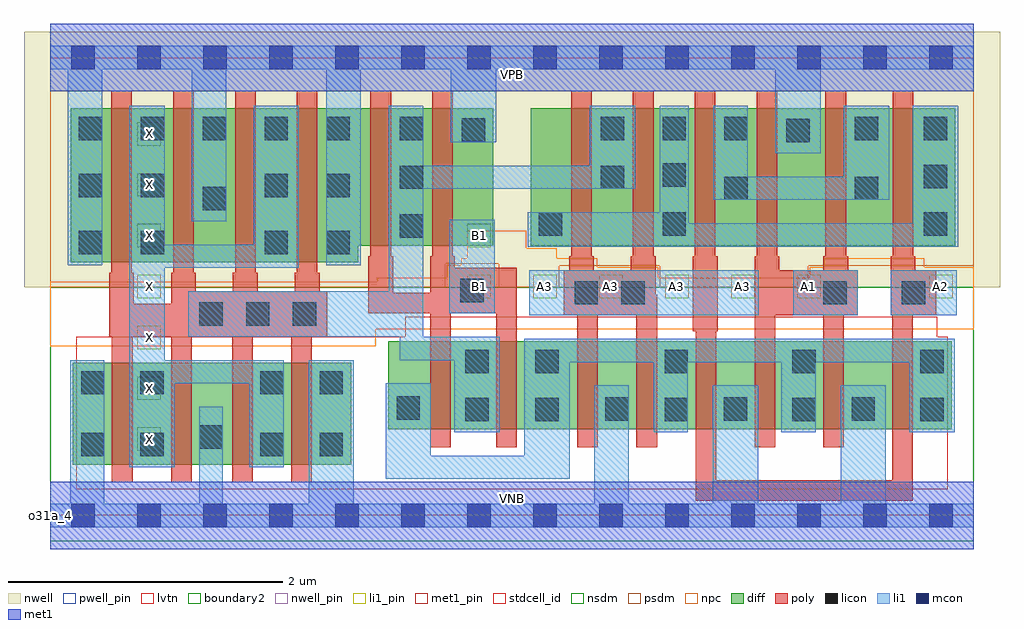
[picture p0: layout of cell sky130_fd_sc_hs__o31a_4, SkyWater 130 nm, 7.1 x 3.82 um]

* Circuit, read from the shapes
.subckt sky130_fd_sc_hs__o31a_4 A1 A2 A3 B1 VGND VNB VPB VPWR X
XM1 X n1 VGND VNB sky130_fd_pr__nfet_01v8_lvt w=0.74 l=0.15 m=4
XM2 n1 B1 n2 VNB sky130_fd_pr__nfet_01v8_lvt w=0.64 l=0.15 m=2
XM3 VGND A3 n2 VNB sky130_fd_pr__nfet_01v8_lvt w=0.64 l=0.15 m=2
XM4 VGND A2 n2 VNB sky130_fd_pr__nfet_01v8_lvt w=0.64 l=0.15 m=2
XM5 n2 A1 VGND VNB sky130_fd_pr__nfet_01v8_lvt w=0.64 l=0.15 m=2
XM6 X n1 VPWR VPB sky130_fd_pr__pfet_01v8 w=1.12 l=0.15 m=4
XM7 n1 B1 VPWR VPB sky130_fd_pr__pfet_01v8 w=1 l=0.15 m=2
XM8 n1 A3 n3 VPB sky130_fd_pr__pfet_01v8 w=1 l=0.15 m=2
XM9 n4 A2 n3 VPB sky130_fd_pr__pfet_01v8 w=1 l=0.15 m=2
XM10 VPWR A1 n4 VPB sky130_fd_pr__pfet_01v8 w=1 l=0.15 m=2
.ends

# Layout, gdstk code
import gdstk
lib = gdstk.Library(unit=1e-6, precision=1e-09)
def R(c, l, rs):  # rectangles x0, y0, x1, y1
    for r in rs: c.add(gdstk.rectangle(r[:2], r[2:], *l))
def A(c, l, x, y, w, h, nx, ny, dx, dy):  # array of equal rectangles
    R(c, l, [(x+i*dx, y+j*dy, x+i*dx+w, y+j*dy+h) for i in range(nx) for j in range(ny)])
def P(c, l, *ps):  # polygons
    for p in ps: c.add(gdstk.Polygon(p, *l))
nwell_pin = (64, 16)
nwell = (64, 20)
diff = (65, 20)
poly = (66, 20)
licon = (66, 44)
li1_pin = (67, 16)
li1 = (67, 20)
mcon = (67, 44)
met1_pin = (68, 16)
met1 = (68, 20)
stdcell_id = (81, 4)
nsdm = (93, 44)
psdm = (94, 20)
npc = (95, 20)
pwell_pin = (122, 16)
lvtn = (125, 44)
boundary2 = (236, 0)

sky130_fd_sc_hs__o31a_4 = lib.new_cell('sky130_fd_sc_hs__o31a_4')
R(sky130_fd_sc_hs__o31a_4, nwell_pin, [(0,3.085,6.72,3.33)])
R(sky130_fd_sc_hs__o31a_4, nwell, [(-0.19,1.66,6.91,3.52)])
R(sky130_fd_sc_hs__o31a_4, diff, [(0.165,0.37,2.19,1.11), (2.46,0.625,6.56,1.265), (3.495,1.96,6.585,2.96)])
P(sky130_fd_sc_hs__o31a_4, diff, [(3.225,2.96),(0.15,2.96),(0.15,1.84),(2.24,1.84),(2.24,1.96),(3.225,1.96)])
P(sky130_fd_sc_hs__o31a_4, poly, [(2.015,1.63),(1.96,1.63),(1.96,1.765),(1.945,1.765),(1.945,3.09),(1.795,3.09),(1.795,1.765),(1.78,1.765),(1.78,1.63),(1.51,1.63),(1.51,1.765),(1.495,1.765),(1.495,3.09),(1.345,3.09),(1.345,1.765),(1.33,1.765),(1.33,1.63),(1.06,1.63),(1.06,1.765),(1.045,1.765),(1.045,3.09),(0.895,3.09),(0.895,1.765),(0.88,1.765),(0.88,1.54),(0.61,1.54),(0.61,1.765),(0.595,1.765),(0.595,3.09),(0.445,3.09),(0.445,1.765),(0.43,1.765),(0.43,1.3),(0.45,1.3),(0.45,0.24),(0.6,0.24),(0.6,1.3),(0.88,1.3),(0.88,0.24),(1.03,0.24),(1.03,1.3),(1.325,1.3),(1.325,0.24),(1.475,0.24),(1.475,1.3),(1.755,1.3),(1.755,0.24),(1.905,0.24),(1.905,1.3),(2.015,1.3)],
  [(3.395,1.8),(2.945,1.8),(2.945,1.885),(2.93,1.885),(2.93,3.09),(2.78,3.09),(2.78,1.885),(2.765,1.885),(2.765,1.62),(2.495,1.62),(2.495,1.885),(2.48,1.885),(2.48,3.09),(2.33,3.09),(2.33,1.885),(2.315,1.885),(2.315,1.47),(2.765,1.47),(2.765,0.495),(2.915,0.495),(2.915,1.47),(3.245,1.47),(3.245,0.495),(3.395,0.495)],
  [(4.415,1.605),(4.405,1.605),(4.405,1.885),(4.39,1.885),(4.39,3.09),(4.24,3.09),(4.24,1.885),(4.225,1.885),(4.225,1.785),(3.955,1.785),(3.955,1.885),(3.94,1.885),(3.94,3.09),(3.79,3.09),(3.79,1.885),(3.775,1.885),(3.775,1.785),(3.735,1.785),(3.735,1.455),(3.835,1.455),(3.835,0.495),(3.985,0.495),(3.985,1.455),(4.265,1.455),(4.265,0.495),(4.415,0.495)],
  [(5.875,1.785),(5.805,1.785),(5.805,1.885),(5.79,1.885),(5.79,3.09),(5.64,3.09),(5.64,1.885),(5.625,1.885),(5.625,1.785),(5.305,1.785),(5.305,1.885),(5.29,1.885),(5.29,3.09),(5.14,3.09),(5.14,1.885),(5.125,1.885),(5.125,0.495),(5.275,0.495),(5.275,1.455),(5.625,1.455),(5.625,0.495),(5.775,0.495),(5.775,1.455),(5.875,1.455)],
  [(6.445,1.785),(6.295,1.785),(6.295,1.885),(6.28,1.885),(6.28,3.09),(6.13,3.09),(6.13,1.885),(6.115,1.885),(6.115,1.455),(6.125,1.455),(6.125,0.255),(4.845,0.255),(4.845,1.34),(4.855,1.34),(4.855,1.885),(4.84,1.885),(4.84,3.09),(4.69,3.09),(4.69,1.885),(4.675,1.885),(4.675,1.34),(4.695,1.34),(4.695,0.105),(6.275,0.105),(6.275,1.455),(6.445,1.455)])
A(sky130_fd_sc_hs__o31a_4, licon, 4.47, 0.685, 0.17, 0.17, 3, 2, 0.93, 0.35)
A(sky130_fd_sc_hs__o31a_4, licon, 1.085, 1.38, 0.17, 0.17, 3, 1, 0.34, 0)
A(sky130_fd_sc_hs__o31a_4, licon, 2.545, 2.02, 0.17, 0.17, 1, 3, 0, 0.355)
A(sky130_fd_sc_hs__o31a_4, licon, 0.21, 2.73, 0.17, 0.17, 5, 1, 0.45, 0)
A(sky130_fd_sc_hs__o31a_4, licon, 4.005, 2.73, 0.17, 0.17, 3, 1, 0.45, 0)
R(sky130_fd_sc_hs__o31a_4, licon, [(0.225,0.43,0.395,0.6), (0.655,0.43,0.825,0.6), (1.53,0.43,1.7,0.6), (1.96,0.43,2.13,0.6), (1.085,0.485,1.255,0.655), (3.02,0.685,3.19,0.855), (3.53,0.685,3.7,0.855), (4.04,0.69,4.21,0.86), (4.9,0.69,5.07,0.86), (5.83,0.69,6,0.86), (2.52,0.695,2.69,0.865), (0.225,0.88,0.395,1.05), (0.655,0.88,0.825,1.05), (1.53,0.88,1.7,1.05), (1.96,0.88,2.13,1.05), (3.02,1.035,3.19,1.205), (3.53,1.035,3.7,1.205), (3.815,1.535,3.985,1.705), (4.155,1.535,4.325,1.705), (5.625,1.535,5.795,1.705), (6.195,1.535,6.365,1.705), (2.985,1.55,3.155,1.72), (0.21,1.9,0.38,2.07), (0.66,1.9,0.83,2.07), (1.56,1.9,1.73,2.07), (2.01,1.9,2.18,2.07), (3.555,2.035,3.725,2.205), (4.455,2.035,4.625,2.205), (6.355,2.035,6.525,2.205), (1.11,2.22,1.28,2.39), (4.905,2.295,5.075,2.465), (5.855,2.295,6.025,2.465), (0.21,2.315,0.38,2.485), (0.66,2.315,0.83,2.485), (1.56,2.315,1.73,2.485), (2.01,2.315,2.18,2.485), (4.005,2.375,4.175,2.545), (6.355,2.38,6.525,2.55), (4.455,2.39,4.625,2.56), (5.355,2.715,5.525,2.885), (2.995,2.72,3.165,2.89), (5.855,2.73,6.025,2.9), (6.355,2.73,6.525,2.9)])
A(sky130_fd_sc_hs__o31a_4, li1_pin, 0.635, 0.47, 0.17, 0.17, 1, 7, 0, 0.37)
A(sky130_fd_sc_hs__o31a_4, li1_pin, 3.035, 1.58, 0.17, 0.17, 6, 1, 0.48, 0)
R(sky130_fd_sc_hs__o31a_4, li1_pin, [(6.395,1.58,6.565,1.75), (3.035,1.95,3.205,2.12)])
R(sky130_fd_sc_hs__o31a_4, li1, [(3.485,1.455,5.155,1.785), (5.405,1.455,5.875,1.785), (6.115,1.455,6.595,1.785), (2.905,1.47,3.235,2.15)])
P(sky130_fd_sc_hs__o31a_4, li1, [(0,-0.085),(0,0.085),(0.145,0.085),(0.145,1.13),(0.395,1.13),(0.395,0.085),(1.085,0.085),(1.085,0.79),(1.255,0.79),(1.255,0.085),(1.88,0.085),(1.88,1.13),(2.21,1.13),(2.21,0.085),(3.96,0.085),(3.96,0.945),(4.21,0.945),(4.21,0.085),(4.82,0.085),(4.82,0.945),(5.15,0.945),(5.15,0.085),(5.75,0.085),(5.75,0.945),(6.08,0.945),(6.08,0.085),(6.72,0.085),(6.72,-0.085)],
  [(0,3.245),(0,3.415),(6.72,3.415),(6.72,3.245),(5.605,3.245),(5.605,2.635),(5.275,2.635),(5.275,3.245),(3.245,3.245),(3.245,2.715),(2.915,2.715),(2.915,3.245),(2.26,3.245),(2.26,1.82),(2.01,1.82),(2.01,3.245),(1.28,3.245),(1.28,2.14),(1.03,2.14),(1.03,3.245),(0.38,3.245),(0.38,1.82),(0.13,1.82),(0.13,3.245)],
  [(0.575,2.98),(0.835,2.98),(0.835,1.97),(1.48,1.97),(1.48,2.98),(1.81,2.98),(1.81,1.8),(0.835,1.8),(0.835,1.13),(1.7,1.13),(1.7,0.35),(1.45,0.35),(1.45,0.96),(0.905,0.96),(0.905,0.35),(0.575,0.35)],
  [(6.605,2.98),(6.275,2.98),(6.275,2.125),(4.645,2.125),(4.645,2.98),(4.435,2.98),(4.435,2.205),(3.475,2.205),(3.475,1.955),(6.605,1.955)],
  [(2.715,1.3),(3.27,1.3),(3.27,0.605),(2.94,0.605),(2.94,1.13),(2.545,1.13),(2.545,1.3),(1.005,1.3),(1.005,1.63),(2.465,1.63),(2.465,2.98),(2.715,2.98),(2.715,2.545),(3.925,2.545),(3.925,2.98),(4.255,2.98),(4.255,2.375),(2.715,2.375)],
  [(4.825,2.295),(4.825,2.98),(5.075,2.98),(5.075,2.465),(5.775,2.465),(5.775,2.98),(6.105,2.98),(6.105,2.295)],
  [(3.45,0.435),(3.45,1.285),(6.58,1.285),(6.58,0.605),(6.25,0.605),(6.25,1.115),(5.57,1.115),(5.57,0.605),(5.32,0.605),(5.32,1.115),(4.64,1.115),(4.64,0.605),(4.39,0.605),(4.39,1.115),(3.78,1.115),(3.78,0.265),(2.44,0.265),(2.44,0.96),(2.77,0.96),(2.77,0.435)])
A(sky130_fd_sc_hs__o31a_4, mcon, 0.155, -0.085, 0.17, 0.17, 14, 2, 0.48, 3.33)
R(sky130_fd_sc_hs__o31a_4, met1_pin, [(0,0,6.72,0.245), (0,3.085,6.72,3.33)])
R(sky130_fd_sc_hs__o31a_4, met1, [(0,-0.245,6.72,0.245), (0,3.085,6.72,3.575)])
R(sky130_fd_sc_hs__o31a_4, stdcell_id, [(0,0,6.72,3.33)])
R(sky130_fd_sc_hs__o31a_4, nsdm, [(0,-0.19,6.72,1.66)])
P(sky130_fd_sc_hs__o31a_4, psdm, [(6.72,3.52),(0,3.52),(0,1.66),(2.875,1.66),(2.875,1.83),(3.265,1.83),(3.265,1.66),(3.705,1.66),(3.705,1.815),(4.435,1.815),(4.435,1.66),(5.515,1.66),(5.515,1.815),(6.72,1.815)])
P(sky130_fd_sc_hs__o31a_4, npc, [(6.72,1.805),(6.36,1.805),(6.36,1.87),(5.63,1.87),(5.63,1.805),(5.525,1.805),(5.525,1.73),(4.425,1.73),(4.425,1.805),(3.98,1.805),(3.98,1.87),(3.685,1.87),(3.685,1.945),(3.465,1.945),(3.465,2.07),(3.035,2.07),(3.035,1.87),(2.99,1.87),(2.99,1.82),(2.885,1.82),(2.885,1.73),(2.38,1.73),(2.38,1.7),(0,1.7),(0,1.23),(2.37,1.23),(2.37,1.355),(6.72,1.355)])
R(sky130_fd_sc_hs__o31a_4, pwell_pin, [(0,0,6.72,0.245)])
P(sky130_fd_sc_hs__o31a_4, lvtn, [(6.53,1.3),(6.455,1.3),(6.455,1.445),(2.585,1.445),(2.585,1.3),(0.19,1.3),(0.19,0.19),(6.53,0.19)])
R(sky130_fd_sc_hs__o31a_4, boundary2, [(0,0,6.72,3.33)])
sky130_fd_sc_hs__o31a_4.add(gdstk.Label('o31a_4', (0,0), layer=83, texttype=44))
sky130_fd_sc_hs__o31a_4.add(gdstk.Label('VNB', (3.36,0.123), layer=64, texttype=59))
sky130_fd_sc_hs__o31a_4.add(gdstk.Label('VPB', (3.36,3.208), layer=64, texttype=5))
sky130_fd_sc_hs__o31a_4.add(gdstk.Label('VPWR', (3.36,3.208), layer=68, texttype=5))
sky130_fd_sc_hs__o31a_4.add(gdstk.Label('VGND', (3.36,0.123), layer=68, texttype=5))
sky130_fd_sc_hs__o31a_4.add(gdstk.Label('A2', (6.48,1.665), layer=67, texttype=5))
sky130_fd_sc_hs__o31a_4.add(gdstk.Label('A1', (5.52,1.665), layer=67, texttype=5))
sky130_fd_sc_hs__o31a_4.add(gdstk.Label('A3', (3.6,1.665), layer=67, texttype=5))
sky130_fd_sc_hs__o31a_4.add(gdstk.Label('A3', (4.08,1.665), layer=67, texttype=5))
sky130_fd_sc_hs__o31a_4.add(gdstk.Label('A3', (4.56,1.665), layer=67, texttype=5))
sky130_fd_sc_hs__o31a_4.add(gdstk.Label('A3', (5.04,1.665), layer=67, texttype=5))
sky130_fd_sc_hs__o31a_4.add(gdstk.Label('B1', (3.12,1.665), layer=67, texttype=5))
sky130_fd_sc_hs__o31a_4.add(gdstk.Label('B1', (3.12,2.035), layer=67, texttype=5))
sky130_fd_sc_hs__o31a_4.add(gdstk.Label('X', (0.72,0.555), layer=67, texttype=5))
sky130_fd_sc_hs__o31a_4.add(gdstk.Label('X', (0.72,0.925), layer=67, texttype=5))
sky130_fd_sc_hs__o31a_4.add(gdstk.Label('X', (0.72,1.295), layer=67, texttype=5))
sky130_fd_sc_hs__o31a_4.add(gdstk.Label('X', (0.72,1.665), layer=67, texttype=5))
sky130_fd_sc_hs__o31a_4.add(gdstk.Label('X', (0.72,2.035), layer=67, texttype=5))
sky130_fd_sc_hs__o31a_4.add(gdstk.Label('X', (0.72,2.405), layer=67, texttype=5))
sky130_fd_sc_hs__o31a_4.add(gdstk.Label('X', (0.72,2.775), layer=67, texttype=5))

lib.write_gds('sky130_fd_sc_hs__o31a_4.gds')
